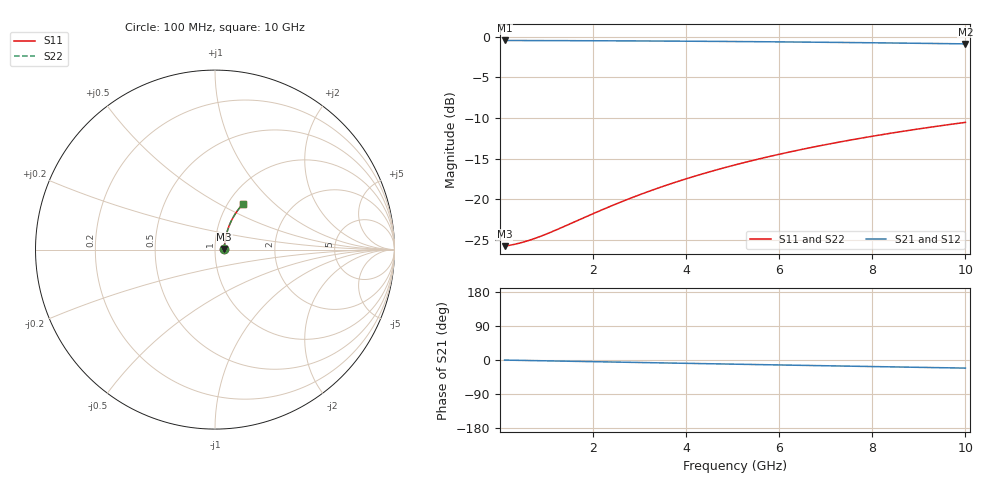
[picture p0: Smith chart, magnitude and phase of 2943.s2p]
# Hz S RI R 50.00
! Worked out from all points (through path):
!   100 points, 100 MHz to 10 GHz, reference 50 ohm
!   highest |S21| = -0.46 dB at 100 MHz (marker M1); lowest = -0.9 dB at 10 GHz (marker M2)
!   group delay of S21, straight-line fit = 5.95 ps
!   lowest |S11| = -25.8 dB at 100 MHz (marker M3), VSWR 1.11, Z = 55.4 + j0.321 ohm
!   |S11| at or under -10 dB: start of sweep to end of sweep
!   |S22| runs from -25.8 to -10.5 dB; largest |S21 - S12| = 0
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1e8  0.0512 0.00289  0.9488 -0.00365  0.9488 -0.00365  0.0512 0.00289
4e8  0.0522 0.0115  0.9478 -0.0146  0.9478 -0.0146  0.0522 0.0115
6e8  0.0527 0.0173  0.9473 -0.0219  0.9473 -0.0219  0.0527 0.0173
8e8  0.0532 0.023  0.9468 -0.0291  0.9468 -0.0291  0.0532 0.023
1e9  0.0538 0.0288  0.9461 -0.0364  0.9461 -0.0364  0.0538 0.0288
1.2e9  0.0545 0.0345  0.9455 -0.0436  0.9455 -0.0436  0.0545 0.0345
1.8e9  0.0569 0.0516  0.943 -0.0652  0.943 -0.0652  0.0569 0.0516
2.2e9  0.0588 0.0629  0.941 -0.0796  0.941 -0.0796  0.0588 0.0629
2.6e9  0.0611 0.0741  0.9387 -0.0938  0.9387 -0.0938  0.0611 0.0741
3e9  0.0637 0.0852  0.936 -0.108  0.936 -0.108  0.0637 0.0852
3.4e9  0.0667 0.0962  0.933 -0.1221  0.933 -0.1221  0.0667 0.0962
3.8e9  0.0699 0.1071  0.9297 -0.136  0.9297 -0.136  0.0699 0.1071
4.2e9  0.0734 0.1179  0.926 -0.1498  0.926 -0.1498  0.0734 0.1179
4.6e9  0.0773 0.1285  0.922 -0.1635  0.922 -0.1635  0.0773 0.1285
5.1e9  0.0825 0.1415  0.9167 -0.1804  0.9167 -0.1804  0.0825 0.1415
5.5e9  0.087 0.1518  0.912 -0.1937  0.912 -0.1937  0.087 0.1518
5.9e9  0.0919 0.1619  0.9071 -0.2068  0.9071 -0.2068  0.0919 0.1619
6.7e9  0.1023 0.1815  0.8963 -0.2326  0.8963 -0.2326  0.1023 0.1815
7.5e9  0.1137 0.2003  0.8845 -0.2575  0.8845 -0.2575  0.1137 0.2003
8.4e9  0.1278 0.2203  0.8701 -0.2845  0.8701 -0.2845  0.1278 0.2203
9.2e9  0.1412 0.2372  0.8562 -0.3075  0.8562 -0.3075  0.1412 0.2372
1e10  0.1553 0.2531  0.8416 -0.3296  0.8416 -0.3296  0.1553 0.2531
